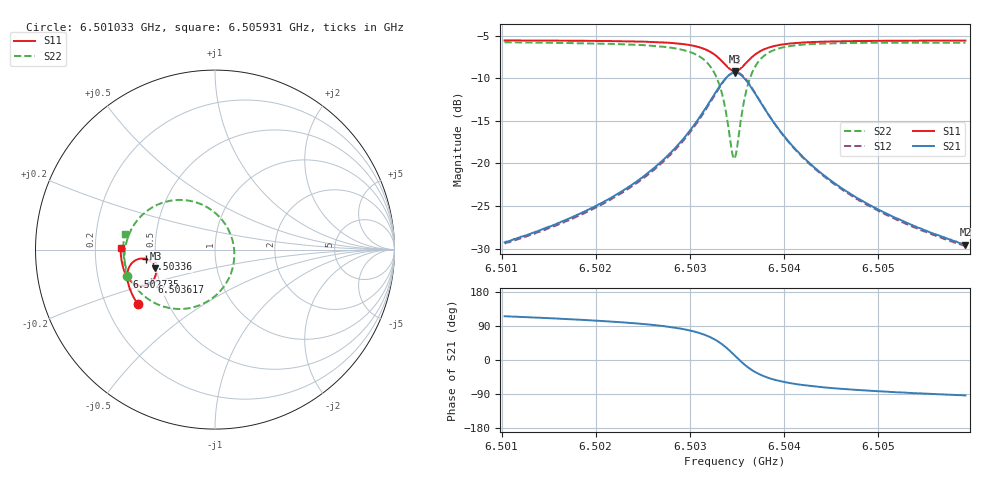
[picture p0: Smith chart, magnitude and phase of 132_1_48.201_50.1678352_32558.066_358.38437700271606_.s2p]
#  HZ  S  RI  R  50.00
! Rohde & Schwarz Vector Network Analyzer
! Rohde-Schwarz,ZNB20-2Port,1311601062101988,3.16
! Created: UTC 3/20/2024, 11:41:57 AM
! freq[Hz]  re:S11  im:S11  re:S21  im:S21  re:S12  im:S12  re:S22  im:S22
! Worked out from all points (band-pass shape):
!   401 points, 6.501033 GHz to 6.505931 GHz, reference 50 ohm
!   highest |S21| = -9.35 dB at 6.503482 GHz (marker M1); lowest = -29.5 dB at 6.505931 GHz (marker M2)
!   |S21| within 3 dB of the highest: 6.503237 GHz to 6.503727 GHz (489.3 kHz wide, 0.00752 % of centre)
!   lowest |S11| = -9.2 dB at 6.503482 GHz (marker M3), VSWR 2.07, Z = 24.6 - j5.8 ohm
!   |S11| at or under -10 dB: nowhere
!   |S22| runs from -19.5 to -5.8 dB; largest |S21 - S12| = 0.012
!   S11 on the Smith chart (normalised r, x): 6.501033 GHz: 0.34, -0.28; 6.502735 GHz: 0.33, -0.14; 6.50336 GHz: 0.44, -0.05; 6.503617 GHz: 0.45, -0.19; 6.505931 GHz: 0.31, +0.01
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6.5010325e9  -0.43 -0.3037  -0.0149 0.031  -0.0131 0.0312  -0.4924 -0.1459
6.5018531e9  -0.4648 -0.2424  -0.0141 0.0493  -0.0116 0.0487  -0.5043 -0.0571
6.5023062e9  -0.4803 -0.2016  -0.011 0.0692  -0.00784 0.068  -0.5 0.00897
6.5026737e9  -0.4886 -0.1601  -0.00139 0.0994  0.00225 0.0971  -0.4792 0.0848
6.5027349e9  -0.489 -0.1518  0.0018 0.1067  0.00558 0.104  -0.4721 0.101
6.5029553e9  -0.4854 -0.1167  0.024 0.1423  0.0277 0.1379  -0.4255 0.1721
6.5031146e9  -0.4707 -0.0845  0.0637 0.1784  0.0665 0.1726  -0.3481 0.2359
6.5032615e9  -0.4327 -0.0547  0.1459 0.2074  0.1466 0.2009  -0.1981 0.2769
6.5033105e9  -0.4113 -0.0499  0.1886 0.206  0.1889 0.2  -0.1229 0.268
6.5033595e9  -0.386 -0.052  0.2379 0.1904  0.238 0.1856  -0.0388 0.2331
6.5034452e9  -0.343 -0.0815  0.3165 0.1152  0.3189 0.1107  0.0866 0.0845
6.503482e9  -0.3321 -0.1036  0.3342 0.0659  0.3378 0.0604  0.1073 -0.00784
6.5035065e9  -0.3292 -0.1199  0.3376 0.0311  0.3414 0.0242  0.1045 -0.0716
6.5035432e9  -0.3313 -0.1441  0.33 -0.0191  0.3334 -0.0283  0.0767 -0.161
6.5036167e9  -0.3538 -0.1812  0.2828 -0.0958  0.2825 -0.1075  -0.0346 -0.2846
6.5037147e9  -0.3947 -0.2007  0.2044 -0.1391  0.1991 -0.1494  -0.195 -0.331
6.5038739e9  -0.4442 -0.1931  0.1158 -0.1385  0.1085 -0.144  -0.3558 -0.2864
6.5040453e9  -0.4733 -0.172  0.0677 -0.1176  0.0611 -0.1201  -0.434 -0.2188
6.5043025e9  -0.4959 -0.1406  0.0348 -0.0908  0.0298 -0.0913  -0.4817 -0.1406
6.50467e9  -0.5114 -0.1016  0.0153 -0.0666  0.0119 -0.0662  -0.5044 -0.0648
6.5051231e9  -0.5208 -0.0592  0.00521 -0.0496  0.00284 -0.0488  -0.5108 0.00101
6.5059314e9  -0.526 0.00958  -0.00202 -0.0333  -0.00345 -0.0325  -0.5032 0.0884
